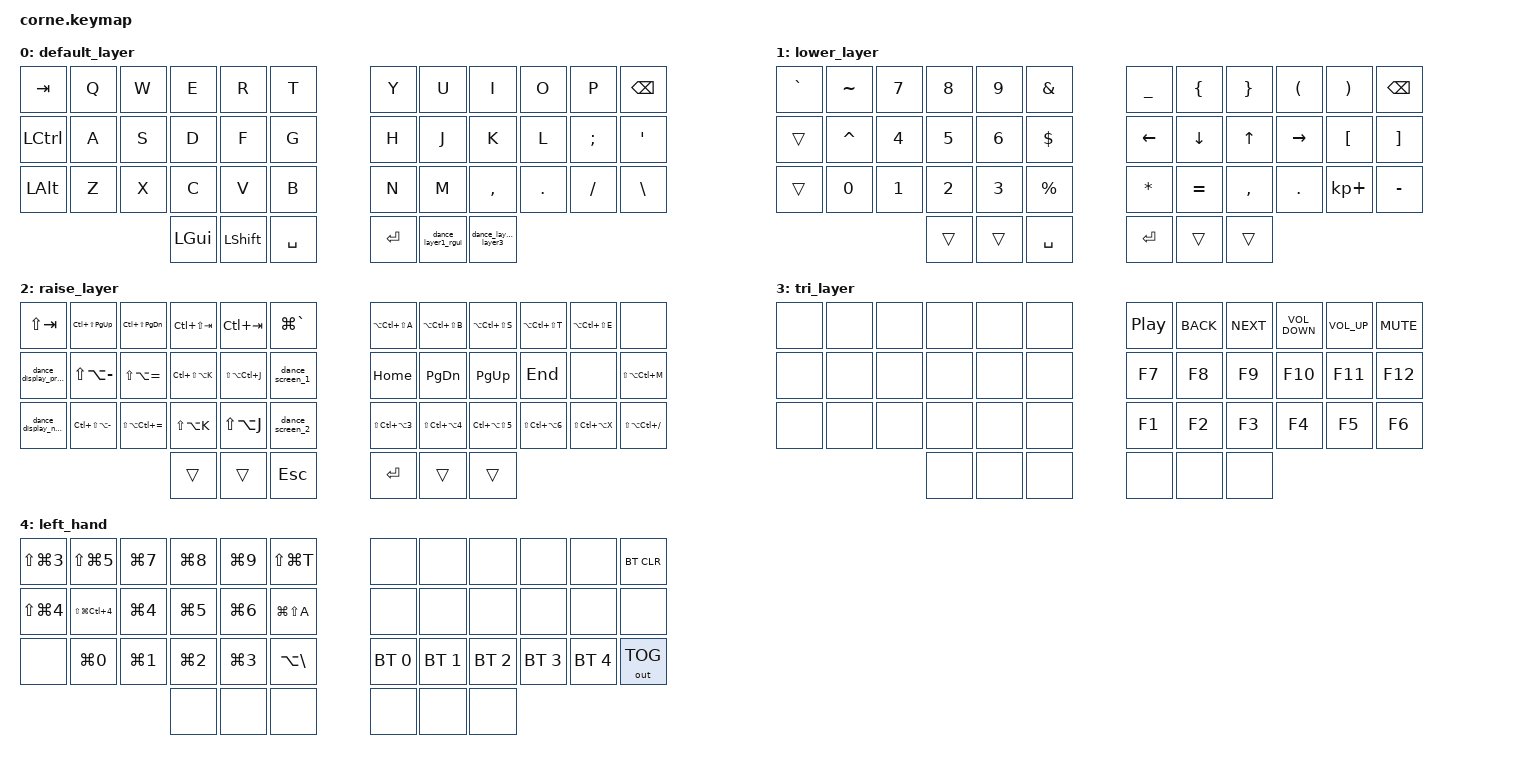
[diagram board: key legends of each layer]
/*
 * Copyright (c) 2020 The ZMK Contributors
 *
 * SPDX-License-Identifier: MIT
 */

#include <behaviors.dtsi>
#include <dt-bindings/zmk/bt.h>
#include <dt-bindings/zmk/keys.h>
#include <dt-bindings/zmk/outputs.h>

/ {
    combos {
        compatible = "zmk,combos";

        combo_esc {
            bindings = <&kp ESCAPE>;
            key-positions = <1 2>;
            layers = <0 1 2 3>;
        };

        combo_gui_layer4 {
            bindings = <&mo 4>;
            key-positions = <36 24>;
            layers = <0>;
        };

        combo_grave {
            bindings = <&kp GRAVE>;
            key-positions = <0 1>;
        };
    };

    behaviors {
        dance_layer1_rgui: dance_layer1_rgui {
            compatible = "zmk,behavior-tap-dance";
            label = "DANCE_LAYER1_RGUI";
            #binding-cells = <0>;
            bindings = <&mo 1>, <&kp RGUI>;
        };

        dance_layer2_layer3: dance_layer2_layer3 {
            compatible = "zmk,behavior-tap-dance";
            label = "DANCE_LAYER2_LAYER3";
            #binding-cells = <0>;
            bindings = <&mo 2>, <&mo 3>;
        };

        dance_display_prev: dance_display_prev {
            compatible = "zmk,behavior-tap-dance";
            label = "DANCE_DISPLAY_PREV";
            #binding-cells = <0>;
            bindings = <&kp LS(LA(H))>, <&kp LA(LS(LC(H)))>;
        };

        dance_display_next: dance_display_next {
            compatible = "zmk,behavior-tap-dance";
            label = "DANCE_DISPLAY_NEXT";
            #binding-cells = <0>;
            bindings = <&kp LS(LA(L))>, <&kp LA(LC(LS(L)))>;
        };

        dance_screen_1: dance_screen_1 {
            compatible = "zmk,behavior-tap-dance";
            label = "DANCE_SCREEN_1";
            #binding-cells = <0>;
            bindings = <&kp LC(LEFT)>, <&kp LS(LA(LC(NUMBER_1)))>;
        };

        dance_screen_2: dance_screen_2 {
            compatible = "zmk,behavior-tap-dance";
            label = "DANCE_SCREEN_2";
            #binding-cells = <0>;
            bindings = <&kp LC(RIGHT)>, <&kp LS(LA(LC(NUMBER_2)))>;
        };
    };

    keymap {
        compatible = "zmk,keymap";

        default_layer {
            bindings = <
&kp TAB       &kp Q  &kp W  &kp E         &kp R           &kp T        &kp Y    &kp U               &kp I                 &kp O    &kp P      &kp BACKSPACE
&kp LCTRL     &kp A  &kp S  &kp D         &kp F           &kp G        &kp H    &kp J               &kp K                 &kp L    &kp SEMI   &kp SINGLE_QUOTE
&kp LEFT_ALT  &kp Z  &kp X  &kp C         &kp V           &kp B        &kp N    &kp M               &kp COMMA             &kp DOT  &kp SLASH  &kp BACKSLASH
                            &kp LEFT_GUI  &kp LEFT_SHIFT  &kp SPACE    &kp RET  &dance_layer1_rgui  &dance_layer2_layer3
            >;
        };

        lower_layer {
            bindings = <
&kp GRAVE  &kp TILDE     &kp N7        &kp N8        &kp N9        &kp AMPERSAND    &kp UNDERSCORE  &kp LEFT_BRACE  &kp RIGHT_BRACE  &kp LEFT_PARENTHESIS  &kp RIGHT_PARENTHESIS  &kp BACKSPACE
&trans     &kp CARET     &kp NUMBER_4  &kp N5        &kp NUMBER_6  &kp DOLLAR       &kp LEFT        &kp DOWN        &kp UP           &kp RIGHT             &kp LEFT_BRACKET       &kp RIGHT_BRACKET
&trans     &kp NUMBER_0  &kp NUMBER_1  &kp NUMBER_2  &kp NUMBER_3  &kp PERCENT      &kp STAR        &kp EQUAL       &kp COMMA        &kp DOT               &kp KP_PLUS            &kp MINUS
                                       &trans        &trans        &kp SPACE        &kp ENTER       &trans          &trans
            >;
        };

        raise_layer {
            bindings = <
&kp LS(TAB)          &kp LC(LS(PAGE_UP))    &kp LC(LS(PAGE_DOWN))  &kp LC(LS(TAB))    &kp LC(TAB)        &kp LG(GRAVE)      &kp LA(LC(LS(A)))         &kp LA(LC(LS(B)))         &kp LA(LC(LS(S)))         &kp LA(LC(LS(T)))         &kp LA(LC(LS(E)))  &none
&dance_display_prev  &kp LS(LA(MINUS))      &kp LS(LA(EQUAL))      &kp LC(LS(LA(K)))  &kp LS(LA(LC(J)))  &dance_screen_1    &kp HOME                  &kp PAGE_DOWN             &kp PAGE_UP               &kp END                   &none              &kp LS(LA(LC(M)))
&dance_display_next  &kp LC(LS(LA(MINUS)))  &kp LS(LA(LC(EQUAL)))  &kp LS(LA(K))      &kp LS(LA(J))      &dance_screen_2    &kp LS(LC(LA(NUMBER_3)))  &kp LS(LC(LA(NUMBER_4)))  &kp LC(LA(LS(NUMBER_5)))  &kp LS(LC(LA(NUMBER_6)))  &kp LS(LC(LA(X)))  &kp LS(LA(LC(SLASH)))
                                                                   &trans             &trans             &kp ESCAPE         &kp RET                   &trans                    &trans
            >;
        };

        tri_layer {
            bindings = <
&none  &none  &none  &none  &none  &none    &kp C_PLAY_PAUSE  &kp K_BACK  &kp K_NEXT  &kp C_VOLUME_DOWN  &kp C_VOLUME_UP  &kp C_MUTE
&none  &none  &none  &none  &none  &none    &kp F7            &kp F8      &kp F9      &kp F10            &kp F11          &kp F12
&none  &none  &none  &none  &none  &none    &kp F1            &kp F2      &kp F3      &kp F4             &kp F5           &kp F6
                     &none  &none  &none    &none             &none       &none
            >;
        };

        left_hand {
            bindings = <
&kp LS(LG(NUMBER_3))  &kp LS(LG(NUMBER_5))      &kp LG(NUMBER_7)  &kp LG(NUMBER_8)  &kp LG(NUMBER_9)  &kp LS(LG(T))        &none         &none         &none         &none         &none         &bt BT_CLR
&kp LS(LG(NUMBER_4))  &kp LS(LG(LC(NUMBER_4)))  &kp LG(NUMBER_4)  &kp LG(NUMBER_5)  &kp LG(NUMBER_6)  &kp LG(LS(A))        &none         &none         &none         &none         &none         &none
&none                 &kp LG(NUMBER_0)          &kp LG(NUMBER_1)  &kp LG(NUMBER_2)  &kp LG(NUMBER_3)  &kp LA(BACKSLASH)    &bt BT_SEL 0  &bt BT_SEL 1  &bt BT_SEL 2  &bt BT_SEL 3  &bt BT_SEL 4  &out OUT_TOG
                                                                  &none             &none             &none                &none         &none         &none
            >;
        };
    };

    conditional_layers { compatible = "zmk,conditional-layers"; };
};

